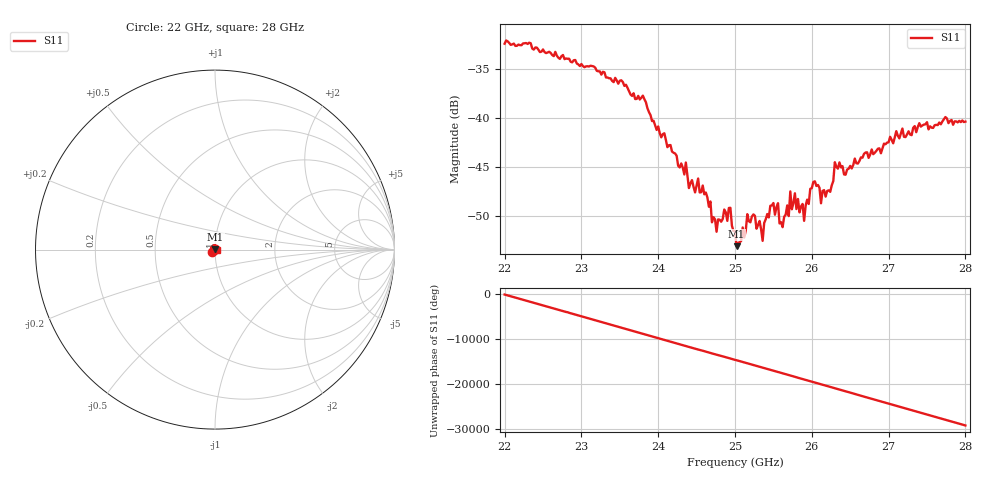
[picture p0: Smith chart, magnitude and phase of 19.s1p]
#  HZ  S  RI  R  50.00
! Rohde & Schwarz ZVA40 4Ports - Version 3.90 - 1145.1110k42 SN: 100403
! Date: 2023-10-04 08:36:01
! Measurement: S12
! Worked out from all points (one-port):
!   301 points, 22 GHz to 28 GHz, reference 50 ohm
!   lowest |S11| = -53.1 dB at 25.02 GHz (marker M1), VSWR 1.00, Z = 50.1 + j0.183 ohm
!   |S11| at or under -10 dB: start of sweep to end of sweep
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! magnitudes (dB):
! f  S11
! 22 GHz  -32.4
! 22.76 GHz  -33.5
! 23.5 GHz  -36.2
! 23.8 GHz  -37.7
! 24.26 GHz  -44.9
! 24.58 GHz  -46.9
! 24.76 GHz  -51.7
! 24.94 GHz  -49.2
! 25 GHz  -51.6
! 25.02 GHz  -53.1
! 25.16 GHz  -49.9
! 25.32 GHz  -50.5
! 25.36 GHz  -52.6
! 25.46 GHz  -49.0
! 25.56 GHz  -48.7
! 25.62 GHz  -51.2
! 25.7 GHz  -50.0
! 25.72 GHz  -47.5
! 25.76 GHz  -48.7
! 25.88 GHz  -48.8
! 25.9 GHz  -50.5
! 26.02 GHz  -46.6
! 26.12 GHz  -48.7
! 26.24 GHz  -47.6
! 26.3 GHz  -44.5
! 26.5 GHz  -44.9
! 27.26 GHz  -41.4
! 28 GHz  -40.4
